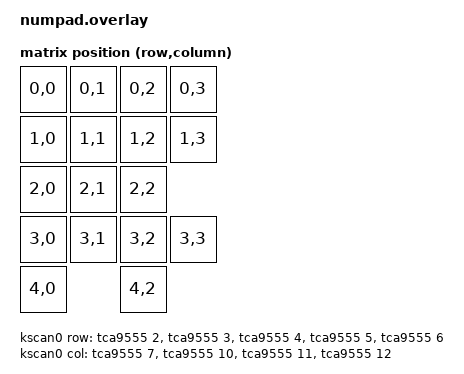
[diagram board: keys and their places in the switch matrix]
#include <dt-bindings/zmk/matrix_transform.h>
#include <dt-bindings/gpio/gpio.h>
#include <dt-bindings/pinctrl/nrf-pinctrl.h>
#include <zephyr/dt-bindings/i2c/i2c.h>

/ {
    chosen {
        zmk,kscan = &kscan0;
        zmk,matrix_transform = &default_transform;
    };

    default_transform: matrix_transform_1 {
        compatible = "zmk,matrix-transform";
        rows = <5>;
        columns = <4>;

        map = <
            RC(0,0) RC(0,1) RC(0,2) RC(0,3)
            RC(1,0) RC(1,1) RC(1,2) RC(1,3)
            RC(2,0) RC(2,1) RC(2,2)
            RC(3,0) RC(3,1) RC(3,2) RC(3,3)
            RC(4,0)         RC(4,2)
        >;
    };

    kscan0: kscan {
        compatible = "zmk,kscan-gpio-matrix";
        label = "KSCAN";
        diode-direction = "col2row";

        /* 
         * TCA9555의 내장 100k 풀업을 활용하므로 드라이버를 혼란스럽게 하는 GPIO_PULL_UP 제거
         * 다이오드 방향(col2row)에 맞추어 보편적인 ACTIVE_LOW 설정으로 깔끔하게 매핑합니다.
         */
        col-gpios
            = <&tca9555 7 GPIO_ACTIVE_LOW>
            , <&tca9555 10 GPIO_ACTIVE_LOW>
            , <&tca9555 11 GPIO_ACTIVE_LOW>
            , <&tca9555 12 GPIO_ACTIVE_LOW>;

        row-gpios
            = <&tca9555 2 GPIO_ACTIVE_LOW>
            , <&tca9555 3 GPIO_ACTIVE_LOW>
            , <&tca9555 4 GPIO_ACTIVE_LOW>
            , <&tca9555 5 GPIO_ACTIVE_LOW>
            , <&tca9555 6 GPIO_ACTIVE_LOW>;
    };
};

&pinctrl {
    i2c0_default: i2c0_default {
        group1 {
            psels = <NRF_PSEL(TWIM_SDA, 1, 6)>,
                    <NRF_PSEL(TWIM_SCL, 1, 4)>;
        };
    };

    i2c0_sleep: i2c0_sleep {
        group1 {
            psels = <NRF_PSEL(TWIM_SDA, 1, 6)>,
                    <NRF_PSEL(TWIM_SCL, 1, 4)>;
            low-power-enable;
        };
    };
};

&i2c0 {
    status = "okay";
    pinctrl-0 = <&i2c0_default>;
    pinctrl-1 = <&i2c0_sleep>;
    pinctrl-names = "default", "sleep";
    clock-frequency = <I2C_BITRATE_FAST>;

    tca9555: gpio@20 {
        /* Zephyr 드라이버 바인딩이 명확하게 매칭되도록 "ti,tca9555" 선언 */
        compatible = "ti,tca9555";
        reg = <0x20>;
        gpio-controller;
        #gpio-cells = <2>;
        ngpios = <16>;
    };
};
